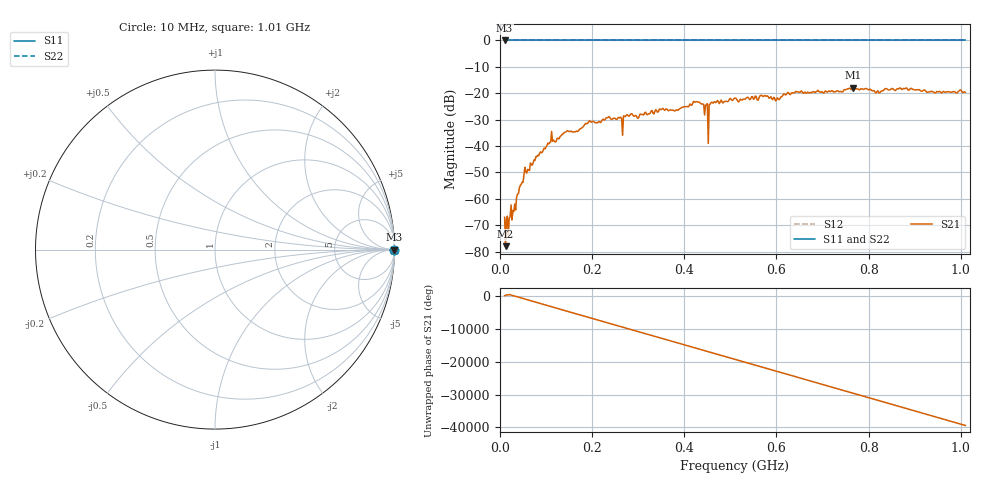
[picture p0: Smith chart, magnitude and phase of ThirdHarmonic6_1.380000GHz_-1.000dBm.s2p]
! 8/16/2025 3:40:52 PM
! C:\ANRITSUVNA\TEMP\TEMP.S2P
! CHANNEL.1
! TR.MEASUREMENT
! RAW.DATA
! RF.CORRECTION.OFF
! AVERAGING.OFF
! IF.BANDWIDTH: 5KHZ
! SWEEPTYPE:  FREQ.SWEEP(Linear)
! Reference Plane Port Info
! PORT:  PORT1  PORT2
! DISTANCE:  0  m  0  m
! TIME:  0  s  0  s
! PHASE.OFFSET:  0  deg.  0  deg.
! LOSS:  0  dB  0  dB
! REF.LOSS:  0  dB  0  dB
! REF.FREQ:  0  Hz  0  Hz
! Power Info
! POWER:  -20  dBm  -20  dBm
! EFF.POWER:  -20  dBm  -20  dBm
! SOURCE.ATTEN:  0  dB  0  dB
! TEST.ATTEN:  0  dB  0  dB
# GHZ S RI R 50.0
! FREQ.GHZ  S11RE  S11IM  S21RE  S21IM  S12RE  S12IM  S22RE  S22IM
!; PortSelection: Port_12
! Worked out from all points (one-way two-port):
!   501 points, 10 MHz to 1.01 GHz, reference 50 ohm
!   highest |S21| = -17.90 dB at 766 MHz (marker M1); lowest = -77.9 dB at 12 MHz (marker M2)
!   lowest |S11| = 0.0 dB at 10 MHz (marker M3)
!   |S11| at or under -10 dB: nowhere
!   |S22| runs from 0.0 to 0.0 dB; largest |S21 - S12| = 1.1
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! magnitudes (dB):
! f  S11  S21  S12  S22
! 10 MHz  0.0  -67.0  0.0  0.0
! 12 MHz  0.0  -77.9  0.0  0.0
! 16 MHz  0.0  -66.6  0.0  0.0
! 20 MHz  0.0  -67.4  0.0  0.0
! 30 MHz  0.0  -64.8  0.0  0.0
! 56 MHz  0.0  -49.8  0.0  0.0
! 78 MHz  0.0  -44.0  0.0  0.0
! 108 MHz  0.0  -38.6  0.0  0.0
! 178 MHz  0.0  -33.0  0.0  0.0
! 234 MHz  0.0  -29.3  0.0  0.0
! 262 MHz  0.0  -29.1  0.0  0.0
! 344 MHz  0.0  -26.9  0.0  0.0
! 428 MHz  0.0  -23.3  0.0  0.0
! 446 MHz  0.0  -24.5  0.0  0.0
! 448 MHz  0.0  -24.4  0.0  0.0
! 456 MHz  0.0  -24.2  0.0  0.0
! 458 MHz  0.0  -23.5  0.0  0.0
! 510 MHz  0.0  -21.8  0.0  0.0
! 678 MHz  0.0  -19.6  0.0  0.0
! 766 MHz  0.0  -17.9  0.0  0.0
! 844 MHz  0.0  -18.8  0.0  0.0
! 1.01 GHz  0.0  -19.6  0.0  0.0
